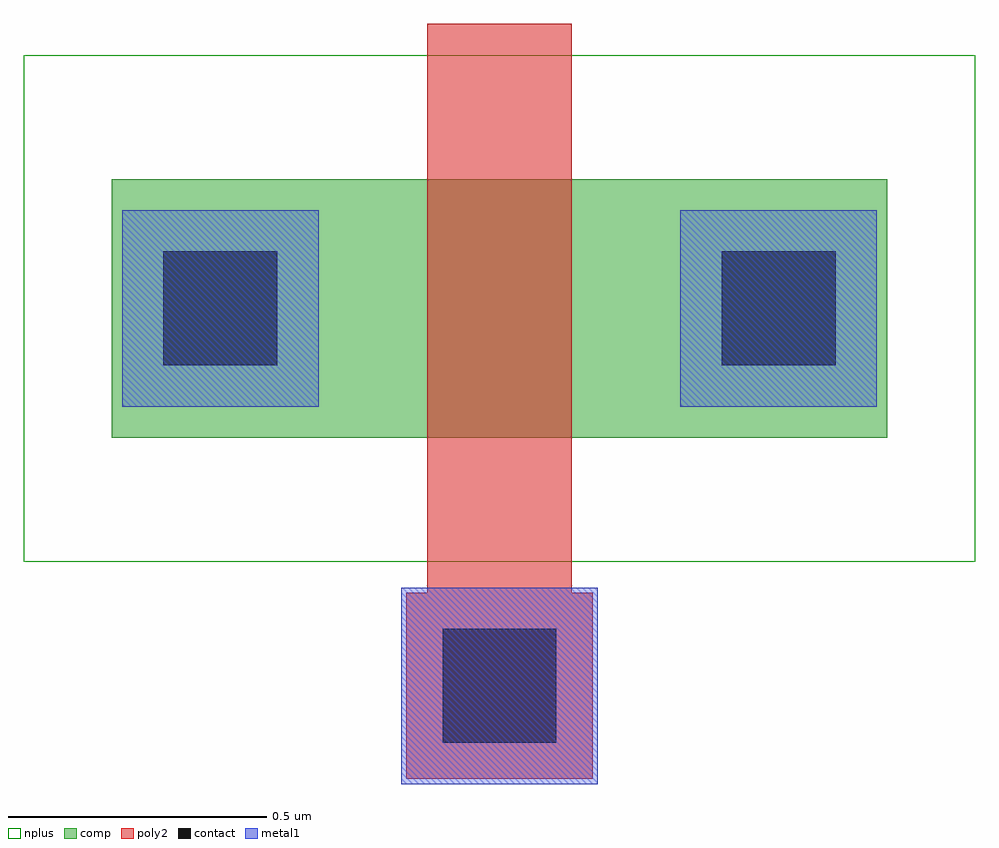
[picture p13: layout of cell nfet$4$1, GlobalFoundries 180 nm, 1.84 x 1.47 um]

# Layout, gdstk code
import gdstk
lib = gdstk.Library(unit=1e-6, precision=5e-09)
def R(c, l, rs):  # rectangles x0, y0, x1, y1
    for r in rs: c.add(gdstk.rectangle(r[:2], r[2:], *l))
def P(c, l, *ps):  # polygons
    for p in ps: c.add(gdstk.Polygon(p, *l))
comp = (22, 0)
poly2 = (30, 0)
nplus = (32, 0)
contact = (33, 0)
metal1 = (34, 0)

nfet_4_1 = lib.new_cell('nfet$4$1')
R(nfet_4_1, comp, [(-0.42,0,1.08,0.5)])
P(nfet_4_1, poly2, [(0.15,-0.66),(0.15,-0.3),(0.19,-0.3),(0.19,0.8),(0.47,0.8),(0.47,-0.3),(0.51,-0.3),(0.51,-0.66)])
R(nfet_4_1, nplus, [(-0.59,-0.24,1.25,0.74)])
R(nfet_4_1, contact, [(0.22,-0.59,0.44,-0.37), (-0.32,0.14,-0.1,0.36), (0.76,0.14,0.98,0.36)])
R(nfet_4_1, metal1, [(0.14,-0.67,0.52,-0.29), (-0.4,0.06,-0.02,0.44), (0.68,0.06,1.06,0.44)])

lib.write_gds('nfet_4_1.gds')
